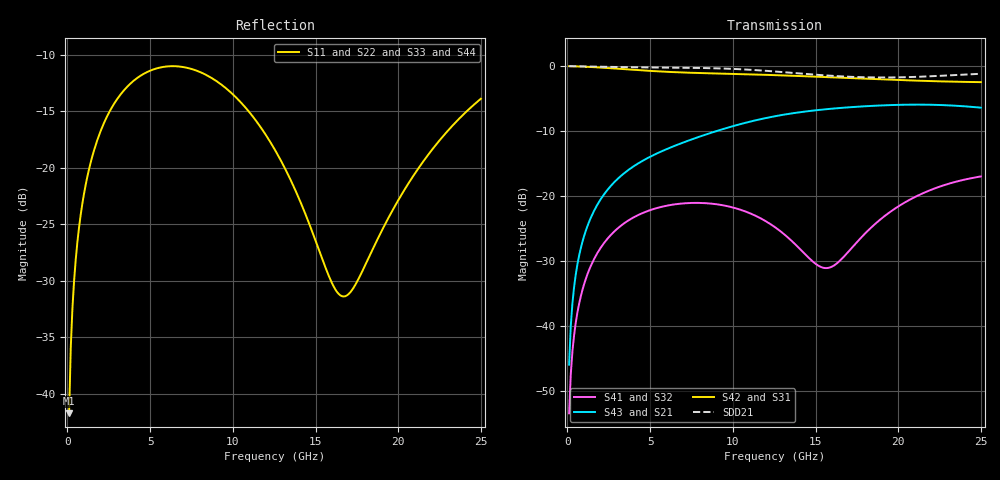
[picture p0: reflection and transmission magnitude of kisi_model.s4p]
! kisi P_ts6_finger_diff: fast channel model (formula impedances, via model), up to 25 GHz
# Hz S RI R 50
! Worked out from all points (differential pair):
!   250 points, 100 MHz to 25 GHz, reference 50 ohm
!   strongest paths, dB at 100 MHz, 6.3 GHz, 12.6 GHz, 18.8 GHz, 25 GHz:
!     S42: 0.0, -0.9, -1.4, -2.0, -2.5
!     S31: 0.0, -0.9, -1.4, -2.0, -2.5
!     S43: -46.0, -12.5, -7.7, -6.1, -6.4
!     S21: -46.0, -12.5, -7.7, -6.1, -6.4
!     S41: -53.5, -21.4, -24.9, -23.9, -17.0
!     S32: -53.5, -21.4, -24.9, -23.9, -17.0
!   taken as a pair (ports 2,1 in; 4,3 out), SDD21 dB: 0.0, -0.2, -0.8, -1.8, -1.2
!   lowest |S11| = -41.7 dB at 100 MHz (marker M1), VSWR 1.02, Z = 50.2 + j0.806 ohm
!   |S11| at or under -10 dB: start of sweep to end of sweep
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1e8  0.00163 0.00803  0.000203 0.005  0.9978 -0.0301  -9.33e-05 -0.00211
     0.000203 0.005  0.00163 0.00803  -9.33e-05 -0.00211  0.9978 -0.0301
     0.9978 -0.0301  -9.33e-05 -0.00211  0.00163 0.00803  0.000203 0.005
     -9.33e-05 -0.00211  0.9978 -0.0301  0.000203 0.005  0.00163 0.00803
8e8  0.0172 0.0594  0.0104 0.0378  0.9647 -0.2311  -0.0061 -0.0155
     0.0104 0.0378  0.0172 0.0594  -0.0061 -0.0155  0.9647 -0.2311
     0.9647 -0.2311  -0.0061 -0.0155  0.0172 0.0594  0.0104 0.0378
     -0.0061 -0.0155  0.9647 -0.2311  0.0104 0.0378  0.0172 0.0594
2.9e9  0.1498 0.1261  0.1026 0.0799  0.6475 -0.7047  -0.0525 -0.0134
       0.1026 0.0799  0.1498 0.1261  -0.0525 -0.0134  0.6475 -0.7047
       0.6475 -0.7047  -0.0525 -0.0134  0.1498 0.1261  0.1026 0.0799
       -0.0525 -0.0134  0.6475 -0.7047  0.1026 0.0799  0.1498 0.1261
6.8e9  0.2661 -0.087  0.2367 -0.0861  -0.2516 -0.8581  -0.0191 0.0849
       0.2367 -0.0861  0.2661 -0.087  -0.0191 0.0849  -0.2516 -0.8581
       -0.2516 -0.8581  -0.0191 0.0849  0.2661 -0.087  0.2367 -0.0861
       -0.0191 0.0849  -0.2516 -0.8581  0.2367 -0.0861  0.2661 -0.087
1.14e10  0.0259 -0.1592  0.032 -0.3813  -0.8571 -0.0774  0.0698 0.00508
         0.032 -0.3813  0.0259 -0.1592  0.0698 0.00508  -0.8571 -0.0774
         -0.8571 -0.0774  0.0698 0.00508  0.0259 -0.1592  0.032 -0.3813
         0.0698 0.00508  -0.8571 -0.0774  0.032 -0.3813  0.0259 -0.1592
1.78e10  -0.0209 0.0274  -0.4886 0.00253  -0.00241 0.8018  0.045 -0.0177
         -0.4886 0.00253  -0.0209 0.0274  0.045 -0.0177  -0.00241 0.8018
         -0.00241 0.8018  0.045 -0.0177  -0.0209 0.0274  -0.4886 0.00253
         0.045 -0.0177  -0.00241 0.8018  -0.4886 0.00253  -0.0209 0.0274
2.5e10  0.1067 0.1712  0.1341 0.4589  0.7322 -0.1711  -0.1317 -0.0506
        0.1341 0.4589  0.1067 0.1712  -0.1317 -0.0506  0.7322 -0.1711
        0.7322 -0.1711  -0.1317 -0.0506  0.1067 0.1712  0.1341 0.4589
        -0.1317 -0.0506  0.7322 -0.1711  0.1341 0.4589  0.1067 0.1712
